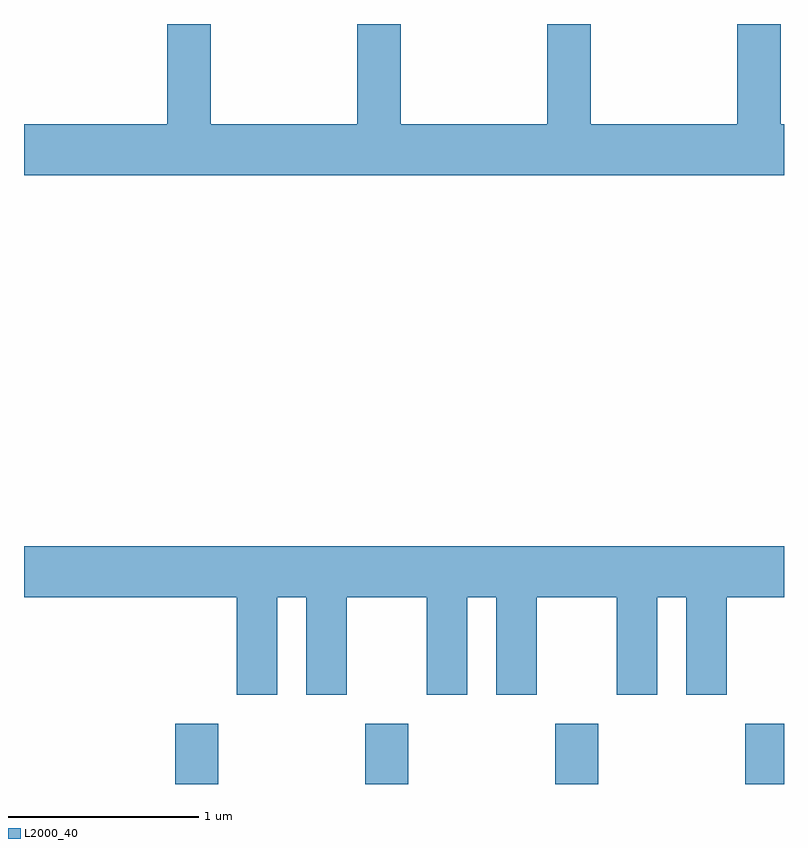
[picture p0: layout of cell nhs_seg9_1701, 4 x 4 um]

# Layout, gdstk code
import gdstk
lib = gdstk.Library(unit=1e-6, precision=1e-09)
def R(c, l, rs):  # rectangles x0, y0, x1, y1
    for r in rs: c.add(gdstk.rectangle(r[:2], r[2:], *l))
def A(c, l, x, y, w, h, nx, ny, dx, dy):  # array of equal rectangles
    R(c, l, [(x+i*dx, y+j*dy, x+i*dx+w, y+j*dy+h) for i in range(nx) for j in range(ny)])
def P(c, l, *ps):  # polygons
    for p in ps: c.add(gdstk.Polygon(p, *l))
L2000_40 = (2000, 40)

nhs_seg9_1701 = lib.new_cell('nhs_seg9_1701')
A(nhs_seg9_1701, L2000_40, 236.406, 1946.432, 0.228, 0.317, 3, 1, 1, 0)
R(nhs_seg9_1701, L2000_40, [(239.406,1946.432,239.611,1946.749)])
P(nhs_seg9_1701, L2000_40, [(239.611,1949.904),(239.594,1949.904),(239.594,1950.432),(239.366,1950.432),(239.366,1949.904),(238.594,1949.904),(238.594,1950.432),(238.366,1950.432),(238.366,1949.904),(237.594,1949.904),(237.594,1950.432),(237.366,1950.432),(237.366,1949.904),(236.594,1949.904),(236.594,1950.432),(236.366,1950.432),(236.366,1949.904),(235.611,1949.904),(235.611,1949.636),(239.611,1949.636)],
  [(236.944,1947.416),(237.096,1947.416),(237.096,1946.901),(237.309,1946.901),(237.309,1947.416),(237.731,1947.416),(237.731,1946.901),(237.944,1946.901),(237.944,1947.416),(238.096,1947.416),(238.096,1946.901),(238.309,1946.901),(238.309,1947.416),(238.731,1947.416),(238.731,1946.901),(238.944,1946.901),(238.944,1947.416),(239.096,1947.416),(239.096,1946.901),(239.309,1946.901),(239.309,1947.416),(239.611,1947.416),(239.611,1947.684),(235.611,1947.684),(235.611,1947.416),(236.731,1947.416),(236.731,1946.901),(236.944,1946.901)])

lib.write_gds('nhs_seg9_1701.gds')
